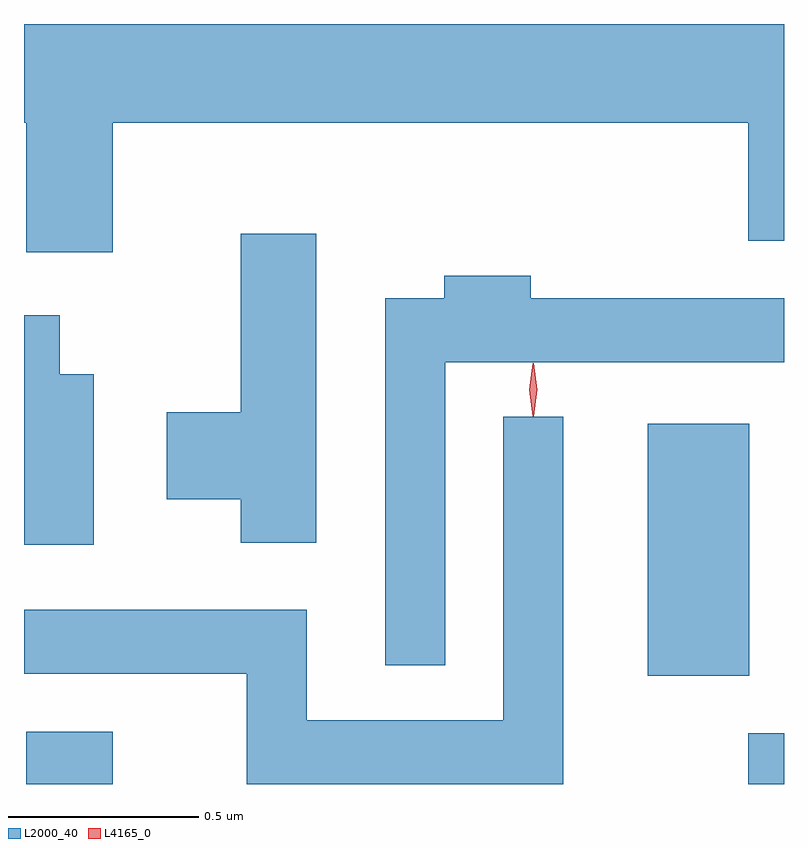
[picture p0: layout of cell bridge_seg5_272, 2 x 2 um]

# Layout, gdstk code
import gdstk
lib = gdstk.Library(unit=1e-6, precision=1e-09)
def R(c, l, rs):  # rectangles x0, y0, x1, y1
    for r in rs: c.add(gdstk.rectangle(r[:2], r[2:], *l))
def P(c, l, *ps):  # polygons
    for p in ps: c.add(gdstk.Polygon(p, *l))
L2000_40 = (2000, 40)
L4165_0 = (4165, 0)

bridge_seg5_272 = lib.new_cell('bridge_seg5_272')
R(bridge_seg5_272, L2000_40, [(1331.021,1430.636,1331.249,1430.774), (1332.921,1430.636,1333.015,1430.769), (1332.656,1430.921,1332.924,1431.584)])
P(bridge_seg5_272, L2000_40, [(1331.249,1432.376),(1332.921,1432.376),(1332.921,1432.066),(1333.015,1432.066),(1333.015,1432.636),(1331.015,1432.636),(1331.015,1432.376),(1331.021,1432.376),(1331.021,1432.036),(1331.249,1432.036)],
  [(1331.784,1432.084),(1331.586,1432.084),(1331.586,1431.614),(1331.391,1431.614),(1331.391,1431.386),(1331.586,1431.386),(1331.586,1431.271),(1331.784,1431.271)],
  [(1332.124,1431.746),(1333.015,1431.746),(1333.015,1431.914),(1332.349,1431.914),(1332.349,1431.974),(1332.121,1431.974),(1332.121,1431.914),(1331.966,1431.914),(1331.966,1430.948),(1332.124,1430.948)],
  [(1331.199,1431.714),(1331.109,1431.714),(1331.109,1431.869),(1331.015,1431.869),(1331.015,1431.266),(1331.199,1431.266)],
  [(1332.434,1431.603),(1332.276,1431.603),(1332.276,1430.804),(1331.759,1430.804),(1331.759,1431.094),(1331.015,1431.094),(1331.015,1430.926),(1331.601,1430.926),(1331.601,1430.636),(1332.434,1430.636)])
P(bridge_seg5_272, L4165_0, [(1332.355,1431.607),(1332.354,1431.608),(1332.345,1431.674),(1332.354,1431.74),(1332.355,1431.741),(1332.356,1431.74),(1332.365,1431.674),(1332.356,1431.608)],
  [(1332.354,1431.604),(1332.345,1431.674),(1332.354,1431.743),(1332.355,1431.743),(1332.356,1431.743),(1332.365,1431.674),(1332.356,1431.604),(1332.355,1431.604)])

lib.write_gds('bridge_seg5_272.gds')
